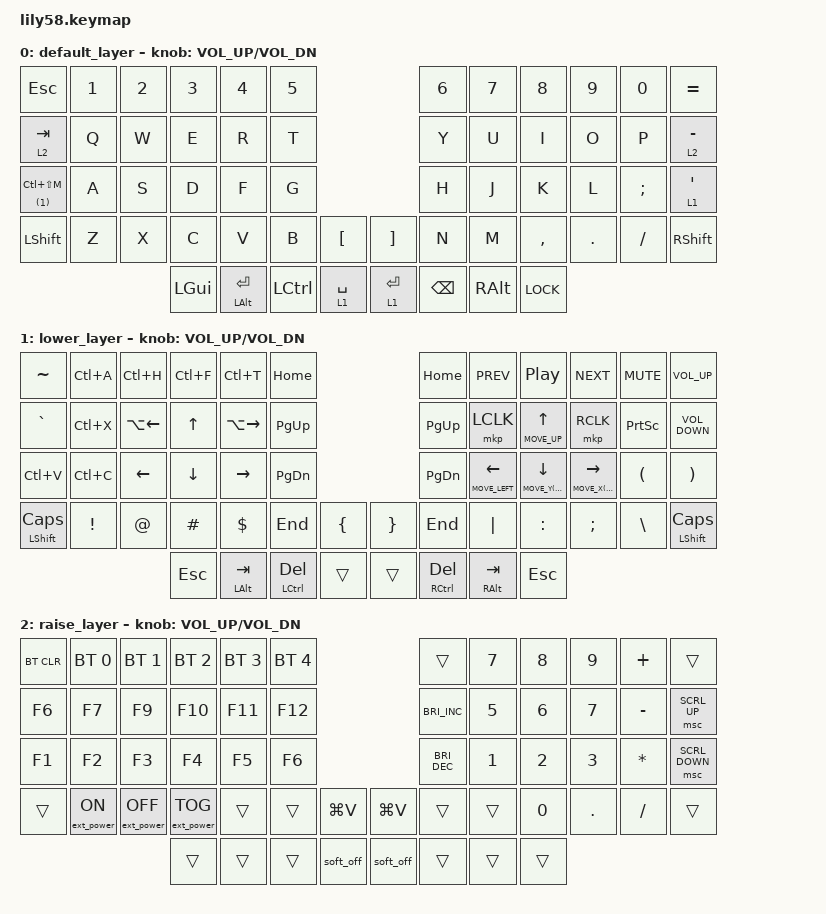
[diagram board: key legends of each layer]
/*
 * Copyright (c) 2020 The ZMK Contributors
 *
 * SPDX-License-Identifier: MIT
 */

#include <behaviors.dtsi>
#include <dt-bindings/zmk/bt.h>
#include <dt-bindings/zmk/ext_power.h>
#include <dt-bindings/zmk/keys.h>
#include <dt-bindings/zmk/pointing.h>

#define MOVE_UP    MOVE_Y(-1000)
#define MOVE_DOWN  MOVE_Y(1000)
#define MOVE_LEFT  MOVE_X(-1000)
#define MOVE_RIGHT MOVE_X(1000)

/ {
    macros {
        sleep: sleep {
            compatible = "zmk,behavior-macro";
            #binding-cells = <0>;
            bindings =
                <&kp LG(X)>,
                <&macro_wait_time 75>,
                <&kp U>,
                <&macro_wait_time 75>,
                <&kp S>;

            label = "SLEEP";
        };
    };

    behaviors {
        mouse_hold: mouse_hold {
            compatible = "zmk,behavior-hold-tap";
            label = "MOUSE_HOLD";
            bindings = <&mmv>, <&kp>;

            #binding-cells = <2>;
            tapping-term-ms = <180>;
            flavor = "tap-preferred";
            quick-tap-ms = <150>;
            require-prior-idle-ms = <125>;
        };
    };

    keymap {
        compatible = "zmk,keymap";

        default_layer {
            // ------------------------------------------------------------------------------------------------------------
            // |  ESC  |  1  |  2  |  3   |  4   |  5   |                   |  6   |  7    |  8    |  9   |   0   |   `   |
            // |  TAB  |  Q  |  W  |  E   |  R   |  T   |                   |  Y   |  U    |  I    |  O   |   P   |   -   |
            // |  CTRL |  A  |  S  |  D   |  F   |  G   |                   |  H   |  J    |  K    |  L   |   ;   |   '   |
            // | SHIFT |  Z  |  X  |  C   |  V   |  B   |   "["  |  |  "]"  |  N   |  M    |  ,    |  .   |   /   | SHIFT |
            //                     | ALT  | GUI  | LOWER|  SPACE |  | ENTER | RAISE| BSPC  | GUI   |

            bindings = <
&kp ESC            &kp N1  &kp N2  &kp N3        &kp N4              &kp N5                                      &kp N6         &kp N7         &kp N8      &kp N9   &kp N0    &kp EQUAL
&lt 2 TAB          &kp Q   &kp W   &kp E         &kp R               &kp T                                       &kp Y          &kp U          &kp I       &kp O    &kp P     &lt 2 MINUS
&lt (1) LC(LS(M))  &kp A   &kp S   &kp D         &kp F               &kp G                                       &kp H          &kp J          &kp K       &kp L    &kp SEMI  &lt 1 APOSTROPHE
&kp LSHFT          &kp Z   &kp X   &kp C         &kp V               &kp B      &kp LEFT_BRACKET    &kp RBKT     &kp N          &kp M          &kp COMMA   &kp DOT  &kp FSLH  &kp RSHFT
                                   &kp LEFT_GUI  &mt LEFT_ALT ENTER  &kp LCTRL  &lt 1 SPACE         &lt 1 ENTER  &kp BACKSPACE  &kp RIGHT_ALT  &kp K_LOCK
            >;

            sensor-bindings = <&inc_dec_kp C_VOL_UP C_VOL_DN>;
        };

        lower_layer {
            // ------------------------------------------------------------------------------------------------------------
            // | BTCLR | BT1 | BT2 |  BT3 |  BT4 |  BT5 |                   |      |       |       |      |       |       |
            // |  F1   |  F2 |  F3 |  F4  |  F5  |  F6  |                   |  F7  |  F8   |  F9   |  F10 |  F11  |  F12  |
            // |   `   |  !  |  @  |  #   |  $   |  %   |                   |  ^   |  &    |  *    |  (   |   )   |   ~   |
            // |       |     |     |      |      |      |        |  |       |      |  _    |  +    |  {   |   }   |  "|"  |
            //                     |      |      |      |        |  |       |      |       |       |

            bindings = <
&kp TILDE            &kp LC(A)        &kp LC(H)     &kp LC(F)   &kp LC(T)         &kp HOME                                          &kp HOME          &kp C_PREV                  &kp C_PLAY_PAUSE              &kp C_NEXT                    &kp C_MUTE            &kp C_VOL_UP
&kp GRAVE            &kp LC(X)        &kp LA(LEFT)  &kp UP      &kp LA(RIGHT)     &kp PAGE_UP                                       &kp PAGE_UP       &mkp LCLK                   &mouse_hold MOVE_UP UP_ARROW  &mkp RCLK                     &kp PRINTSCREEN       &kp C_VOLUME_DOWN
&kp LC(V)            &kp LC(C)        &kp LEFT      &kp DOWN    &kp RIGHT         &kp PAGE_DOWN                                     &kp PAGE_DOWN     &mouse_hold MOVE_LEFT LEFT  &mouse_hold MOVE_DOWN DOWN    &mouse_hold MOVE_RIGHT RIGHT  &kp LEFT_PARENTHESIS  &kp RIGHT_PARENTHESIS
&mt LEFT_SHIFT CAPS  &kp EXCLAMATION  &kp AT_SIGN   &kp HASH    &kp DOLLAR        &kp END        &kp LEFT_BRACE    &kp RIGHT_BRACE  &kp END           &kp PIPE                    &kp COLON                     &kp SEMI                      &kp BACKSLASH         &mt LEFT_SHIFT CAPSLOCK
                                                    &kp ESCAPE  &mt LEFT_ALT TAB  &mt LCTRL DEL  &trans            &trans           &mt RCTRL DELETE  &mt RIGHT_ALT TAB           &kp ESCAPE
            >;

            sensor-bindings = <&inc_dec_kp C_VOL_UP C_VOL_DN>;
        };

        raise_layer {
            // ------------------------------------------------------------------------------------------------------------
            // |       |     |     |      |      |      |                   |      |       |       |      |       |       |
            // |   `   |  1  |  2  |  3   |  4   |  5   |                   |  6   |   7   |   8   |  9   |   0   |       |
            // |   F1  |  F2 |  F3 |  F4  |  F5  |  F6  |                   |      |   <-  |   v   |  ^   |  ->   |       |
            // |   F7  |  F8 |  F9 |  F10 |  F11 |  F12 |        |  |       |  +   |   -   |   =   |  [   |   ]   |   \   |
            //                     |      |      |      |        |  |       |      |       |       |

            bindings = <
&bt BT_CLR  &bt BT_SEL 0      &bt BT_SEL 1       &bt BT_SEL 2       &bt BT_SEL 3  &bt BT_SEL 4                          &trans         &kp N7  &kp N8  &kp N9   &kp PLUS   &trans
&kp F6      &kp F7            &kp F9             &kp F10            &kp F11       &kp F12                               &kp C_BRI_INC  &kp N5  &kp N6  &kp N7   &kp MINUS  &msc SCRL_UP
&kp F1      &kp F2            &kp F3             &kp F4             &kp F5        &kp F6                                &kp C_BRI_DEC  &kp N1  &kp N2  &kp N3   &kp STAR   &msc SCRL_DOWN
&trans      &ext_power EP_ON  &ext_power EP_OFF  &ext_power EP_TOG  &trans        &trans        &kp LG(V)    &kp LG(V)  &trans         &trans  &kp N0  &kp DOT  &kp SLASH  &trans
                                                 &trans             &trans        &trans        &soft_off    &soft_off  &trans         &trans  &trans
            >;

            sensor-bindings = <&inc_dec_kp C_VOL_UP C_VOL_DN>;
        };
    };
};
&mmv {
    time-to-max-speed-ms = <300>;
    acceleration-exponent = <1>;
    delay-ms = <0>;
};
